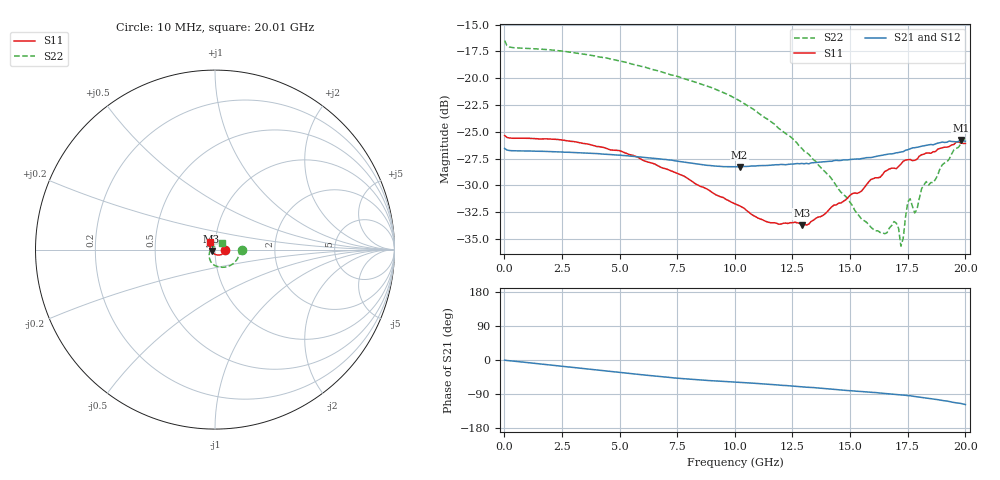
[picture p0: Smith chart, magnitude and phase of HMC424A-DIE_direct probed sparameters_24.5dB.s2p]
!s2p File: Measurements: S11, S21, S12, S22
# GHz S dB R 50.0
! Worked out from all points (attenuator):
!   201 points, 10 MHz to 20.01 GHz, reference 50 ohm
!   highest |S21| = -25.76 dB at 19.81 GHz (marker M1); lowest = -28.3 dB at 10.21 GHz (marker M2)
!   lowest |S11| = -33.7 dB at 12.91 GHz (marker M3), VSWR 1.04, Z = 48.2 - j0.813 ohm
!   |S11| at or under -10 dB: start of sweep to end of sweep
!   |S22| runs from -35.7 to -16.5 dB; largest |S21 - S12| = 0.00049
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0.01  -25.35 -0.1  -26.56 -0.3  -26.58 -0.3  -16.47 -1.3
3.41  -26.09 -23.9  -26.98 -22.7  -26.97 -22.7  -17.74 -34.3
6.71  -28.23 -51.9  -27.53 -43.4  -27.53 -43.3  -19.33 -66.0
10.01  -31.73 -92.1  -28.27 -58.2  -28.27 -58.1  -21.86 -99.6
10.21  -31.92 -95.1  -28.28 -58.7  -28.27 -58.7  -22.11 -102.0
11.41  -33.42 -120.4  -28.15 -63.8  -28.14 -63.8  -23.81 -115.4
12.91  -33.73 -155.8  -27.96 -70.7  -27.94 -70.7  -26.55 -133.7
13.41  -33.27 -167.8  -27.89 -72.8  -27.91 -72.7  -27.60 -140.4
15.51  -30.53 154.7  -27.50 -83.2  -27.48 -83.1  -33.18 177.4
16.31  -29.25 143.3  -27.23 -87.2  -27.21 -87.0  -34.41 148.8
16.71  -28.48 138.8  -27.07 -89.5  -27.04 -89.5  -34.00 135.2
17.01  -28.45 136.9  -26.97 -91.1  -26.90 -91.1  -33.53 114.7
17.11  -28.25 136.9  -26.94 -91.7  -26.87 -91.7  -34.03 106.6
17.21  -28.02 136.6  -26.89 -92.2  -26.84 -92.4  -35.69 108.2
17.31  -27.76 135.2  -26.86 -92.6  -26.84 -92.8  -34.96 116.2
17.51  -27.61 132.2  -26.68 -94.0  -26.70 -94.5  -31.56 107.1
17.61  -27.59 130.6  -26.59 -94.3  -26.64 -94.8  -31.26 96.7
17.81  -27.67 129.4  -26.49 -96.2  -26.51 -96.4  -32.59 87.2
18.21  -27.09 125.3  -26.31 -99.7  -26.34 -99.5  -29.97 79.7
18.61  -26.87 123.6  -26.22 -103.1  -26.21 -102.9  -29.76 69.2
19.81  -26.06 119.6  -25.76 -114.6  -25.76 -114.6  -26.13 50.5
20.01  -26.10 121.5  -25.89 -117.5  -25.88 -117.4  -25.50 46.6
